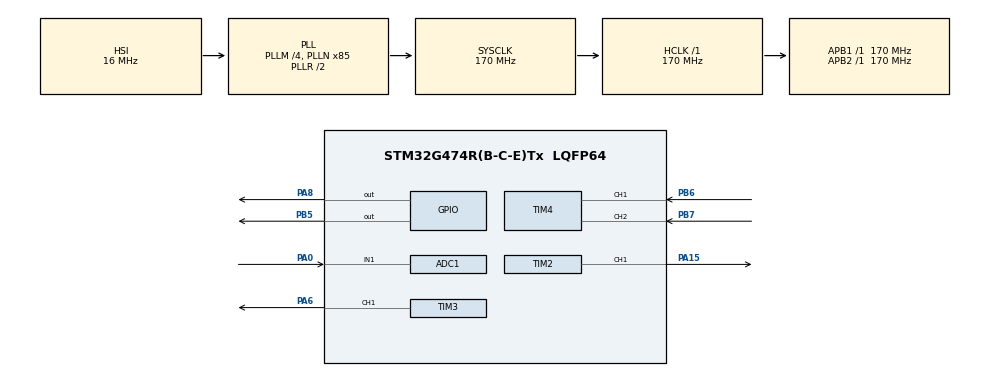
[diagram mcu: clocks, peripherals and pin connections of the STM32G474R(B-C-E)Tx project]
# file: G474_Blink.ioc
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ADC1.Channel-0\#ChannelRegularConversion=ADC_CHANNEL_1
ADC1.NbrOfConversionFlag=1
ADC1.OffsetNumber-0\#ChannelRegularConversion=ADC_OFFSET_NONE
ADC1.Rank-0\#ChannelRegularConversion=1
ADC1.SamplingTime-0\#ChannelRegularConversion=ADC_SAMPLETIME_2CYCLES_5
ADC1.master=1
Mcu.Family=STM32G4
Mcu.Name=STM32G474R(B-C-E)Tx
Mcu.Package=LQFP64
NUCLEO-G474RE.BUTTON=1
NUCLEO-G474RE.LD2=true
NUCLEO-G474RE.VCP=true
NVIC.EXTI15_10_IRQn=true\:0\:0\:false\:false\:true\:false\:true\:true
NVIC.PriorityGroup=NVIC_PRIORITYGROUP_4
NVIC.TIM6_DAC_IRQn=true\:0\:0\:false\:false\:true\:true\:true\:true
PA0.Mode=IN1-Single-Ended
PA0.Signal=ADC1_IN1
PA13.GPIO_Label=T_SWDIO
PA13.Signal=SYS_JTMS-SWDIO
PA14.GPIO_Label=T_SWCLK
PA14.Signal=SYS_JTCK-SWCLK
PA15.Signal=S_TIM2_CH1
PA2.Signal=LPUART1_TX
PA3.Signal=LPUART1_RX
PA6.Signal=S_TIM3_CH1
PA8.Signal=GPIO_Output
PB3.GPIO_Label=T_SWO
PB3.Signal=SYS_JTDO-SWO
PB5.Signal=GPIO_Output
PB6.Signal=S_TIM4_CH1
PB7.Signal=S_TIM4_CH2
PC14-OSC32_IN.GPIO_Label=RCC_OSC32_IN
PC14-OSC32_IN.Signal=RCC_OSC32_IN
PC15-OSC32_OUT.GPIO_Label=RCC_OSC32_OUT
PC15-OSC32_OUT.Signal=RCC_OSC32_OUT
PF0-OSC_IN.GPIO_Label=RCC_OSC_IN
PF0-OSC_IN.Signal=RCC_OSC_IN
PF1-OSC_OUT.GPIO_Label=RCC_OSC_OUT
PF1-OSC_OUT.Signal=RCC_OSC_OUT
ProjectManager.HeapSize=0x200
ProjectManager.StackSize=0x400
ProjectManager.TargetToolchain=STM32CubeIDE
RCC.ADC12Freq_Value=170000000
RCC.ADC345Freq_Value=170000000
RCC.AHBFreq_Value=170000000
RCC.APB1Freq_Value=170000000
RCC.APB1TimFreq_Value=170000000
RCC.APB2Freq_Value=170000000
RCC.APB2TimFreq_Value=170000000
RCC.CortexFreq_Value=170000000
RCC.EXTERNAL_CLOCK_VALUE=12288000
RCC.HCLKFreq_Value=170000000
RCC.HSE_VALUE=24000000
RCC.HSI48_VALUE=48000000
RCC.HSI_VALUE=16000000
RCC.LSE_VALUE=32768
RCC.PLLM=RCC_PLLM_DIV4
RCC.PLLN=85
RCC.RTCClockSelection=RCC_RTCCLKSOURCE_LSE
RCC.SYSCLKFreq_VALUE=170000000
RCC.SYSCLKSource=RCC_SYSCLKSOURCE_PLLCLK
RCC.USBFreq_Value=170000000
RCC.VCOOutputFreq_Value=340000000
SH.S_TIM2_CH1.0=TIM2_CH1,PWM Generation1 CH1
SH.S_TIM3_CH1.0=TIM3_CH1,PWM Generation1 CH1
SH.S_TIM4_CH1.0=TIM4_CH1,Encoder_Interface
SH.S_TIM4_CH2.0=TIM4_CH2,Encoder_Interface
TIM2.Channel-PWM\ Generation1\ CH1=TIM_CHANNEL_1
TIM2.PeriodNoDither=999
TIM2.Prescaler=169
TIM2.PulseNoDither_1=500
TIM3.Channel-PWM\ Generation1\ CH1=TIM_CHANNEL_1
TIM3.PeriodNoDither=8499
TIM4.EncoderMode=TIM_ENCODERMODE_TI12
TIM6.PeriodNoDither=9
TIM6.Prescaler=16999
VP_NUCLEO-G474RE_VS_BSP_COMMON.Mode=COMMON
VP_SYS_VS_DBSignals.Mode=DisableDeadBatterySignals
VP_TIM3_VS_ClockSourceINT.Mode=Internal
VP_TIM6_VS_ClockSourceINT.Mode=Enable_Timer
board=NUCLEO-G474RE

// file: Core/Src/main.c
/* USER CODE BEGIN Header */
/**
  ******************************************************************************
  * @file           : main.c
  * @brief          : Main program body
  ******************************************************************************
  * @attention
  *
  * Copyright (c) 2026 STMicroelectronics.
  * All rights reserved.
  *
  * This software is licensed under terms that can be found in the LICENSE file
  * in the root directory of this software component.
  * If no LICENSE file comes with this software, it is provided AS-IS.
  *
  ******************************************************************************
  */
/* USER CODE END Header */
#include "main.h"

/* USER CODE BEGIN Includes */
#include "motor_control.h"
#include <stdbool.h>
/* USER CODE END Includes */

COM_InitTypeDef BspCOMInit;
ADC_HandleTypeDef hadc1;

TIM_HandleTypeDef htim2;
TIM_HandleTypeDef htim3;
TIM_HandleTypeDef htim4;
TIM_HandleTypeDef htim6;

/* USER CODE BEGIN PV */

volatile float target_rpm = 0.0f;

volatile uint16_t encoder_count = 0;

uint32_t adc_value = 0;

int32_t filtered_adc = 0;

uint32_t pwm_value;

volatile float motor_rpm = 0.0f;

uint32_t encoder_last_time = 0;
uint16_t encoder_previous = 0;
volatile int32_t encoder_delta = 0;

volatile uint32_t system_ms = 0;
//uint32_t old_blink_period = 0;
float adc_voltage = 0.0f;
/* USER CODE END PV */

void SystemClock_Config(void);
static void MX_GPIO_Init(void);
static void MX_TIM6_Init(void);
static void MX_ADC1_Init(void);
static void MX_TIM2_Init(void);
static void MX_TIM3_Init(void);
static void MX_TIM4_Init(void);
/* USER CODE BEGIN PFP */
void ReadPotentiometer(void);
/* USER CODE END PFP */

int main(void)
{

  /* MCU Configuration--------------------------------------------------------*/

  /* Reset of all peripherals, Initializes the Flash interface and the Systick. */
  HAL_Init();

  /* Configure the system clock */
  SystemClock_Config();

  /* Initialize all configured peripherals */
  MX_GPIO_Init();
  MX_TIM6_Init();
  MX_ADC1_Init();
  MX_TIM2_Init();
  MX_TIM3_Init();
  MX_TIM4_Init();
  /* USER CODE BEGIN 2 */

  HAL_TIM_Encoder_Start(&htim4, TIM_CHANNEL_ALL);

  // Keep motor driver disabled
  HAL_GPIO_WritePin(GPIOB, GPIO_PIN_5, GPIO_PIN_SET);

  //Set motor direction
  HAL_GPIO_WritePin(GPIOA, GPIO_PIN_8, GPIO_PIN_RESET);

  // Start PWN at 0%
  __HAL_TIM_SET_COMPARE(&htim3, TIM_CHANNEL_1, 0);

  HAL_TIM_Base_Start_IT(&htim6);
  HAL_TIM_PWM_Start(&htim3, TIM_CHANNEL_1);
  MotorControl_Init();
//  __HAL_TIM_SET_COMPARE(&htim2, TIM_CHANNEL_1, 100);
  /* USER CODE END 2 */

  /* Initialize led */
  BSP_LED_Init(LED_GREEN);

  /* Initialize USER push-button, will be used to trigger an interrupt each time it's pressed.*/
  BSP_PB_Init(BUTTON_USER, BUTTON_MODE_EXTI);

  /* Initialize COM1 port (115200, 8 bits (7-bit data + 1 stop bit), no parity */
  BspCOMInit.BaudRate   = 115200;
  BspCOMInit.WordLength = COM_WORDLENGTH_8B;
  BspCOMInit.StopBits   = COM_STOPBITS_1;
  BspCOMInit.Parity     = COM_PARITY_NONE;
  BspCOMInit.HwFlowCtl  = COM_HWCONTROL_NONE;
  if (BSP_COM_Init(COM1, &BspCOMInit) != BSP_ERROR_NONE)
  {
    Error_Handler();
  }

  /* Infinite loop */
  while (1)
  {

    /* USER CODE BEGIN 3 */
	  ReadPotentiometer();
	  uint32_t now = HAL_GetTick();

	  if ((now - encoder_last_time) >= 100U)
	  {
	    uint32_t elapsed_ms = now - encoder_last_time;

	    encoder_count = __HAL_TIM_GET_COUNTER(&htim4);

	    encoder_delta =
	        (int16_t)((uint16_t)encoder_count - encoder_previous);

	    motor_rpm = ((float)encoder_delta * 60000.0f)
	                / (6533.333f * (float)elapsed_ms);

	    encoder_previous = (uint16_t)encoder_count;
	    encoder_last_time = now;
	  }
  }
  /* USER CODE END 3 */
}

void SystemClock_Config(void)
{
  RCC_OscInitTypeDef RCC_OscInitStruct = {0};
  RCC_ClkInitTypeDef RCC_ClkInitStruct = {0};

  /** Configure the main internal regulator output voltage
  */
  HAL_PWREx_ControlVoltageScaling(PWR_REGULATOR_VOLTAGE_SCALE1_BOOST);

  /** Initializes the RCC Oscillators according to the specified parameters
  * in the RCC_OscInitTypeDef structure.
  */
  RCC_OscInitStruct.OscillatorType = RCC_OSCILLATORTYPE_HSI;
  RCC_OscInitStruct.HSIState = RCC_HSI_ON;
  RCC_OscInitStruct.HSICalibrationValue = RCC_HSICALIBRATION_DEFAULT;
  RCC_OscInitStruct.PLL.PLLState = RCC_PLL_ON;
  RCC_OscInitStruct.PLL.PLLSource = RCC_PLLSOURCE_HSI;
  RCC_OscInitStruct.PLL.PLLM = RCC_PLLM_DIV4;
  RCC_OscInitStruct.PLL.PLLN = 85;
  RCC_OscInitStruct.PLL.PLLP = RCC_PLLP_DIV2;
  RCC_OscInitStruct.PLL.PLLQ = RCC_PLLQ_DIV2;
  RCC_OscInitStruct.PLL.PLLR = RCC_PLLR_DIV2;
  if (HAL_RCC_OscConfig(&RCC_OscInitStruct) != HAL_OK)
  {
    Error_Handler();
  }

  /** Initializes the CPU, AHB and APB buses clocks
  */
  RCC_ClkInitStruct.ClockType = RCC_CLOCKTYPE_HCLK|RCC_CLOCKTYPE_SYSCLK
                              |RCC_CLOCKTYPE_PCLK1|RCC_CLOCKTYPE_PCLK2;
  RCC_ClkInitStruct.SYSCLKSource = RCC_SYSCLKSOURCE_PLLCLK;
  RCC_ClkInitStruct.AHBCLKDivider = RCC_SYSCLK_DIV1;
  RCC_ClkInitStruct.APB1CLKDivider = RCC_HCLK_DIV1;
  RCC_ClkInitStruct.APB2CLKDivider = RCC_HCLK_DIV1;

  if (HAL_RCC_ClockConfig(&RCC_ClkInitStruct, FLASH_LATENCY_4) != HAL_OK)
  {
    Error_Handler();
  }
}

static void MX_ADC1_Init(void)
{

  ADC_MultiModeTypeDef multimode = {0};
  ADC_ChannelConfTypeDef sConfig = {0};

  /** Common config
  */
  hadc1.Instance = ADC1;
  hadc1.Init.ClockPrescaler = ADC_CLOCK_SYNC_PCLK_DIV4;
  hadc1.Init.Resolution = ADC_RESOLUTION_12B;
  hadc1.Init.DataAlign = ADC_DATAALIGN_RIGHT;
  hadc1.Init.GainCompensation = 0;
  hadc1.Init.ScanConvMode = ADC_SCAN_DISABLE;
  hadc1.Init.EOCSelection = ADC_EOC_SINGLE_CONV;
  hadc1.Init.LowPowerAutoWait = DISABLE;
  hadc1.Init.ContinuousConvMode = DISABLE;
  hadc1.Init.NbrOfConversion = 1;
  hadc1.Init.DiscontinuousConvMode = DISABLE;
  hadc1.Init.ExternalTrigConv = ADC_SOFTWARE_START;
  hadc1.Init.ExternalTrigConvEdge = ADC_EXTERNALTRIGCONVEDGE_NONE;
  hadc1.Init.DMAContinuousRequests = DISABLE;
  hadc1.Init.Overrun = ADC_OVR_DATA_PRESERVED;
  hadc1.Init.OversamplingMode = DISABLE;
  if (HAL_ADC_Init(&hadc1) != HAL_OK)
  {
    Error_Handler();
  }

  /** Configure the ADC multi-mode
  */
  multimode.Mode = ADC_MODE_INDEPENDENT;
  if (HAL_ADCEx_MultiModeConfigChannel(&hadc1, &multimode) != HAL_OK)
  {
    Error_Handler();
  }

  /** Configure Regular Channel
  */
  sConfig.Channel = ADC_CHANNEL_1;
  sConfig.Rank = ADC_REGULAR_RANK_1;
  sConfig.SamplingTime = ADC_SAMPLETIME_2CYCLES_5;
  sConfig.SingleDiff = ADC_SINGLE_ENDED;
  sConfig.OffsetNumber = ADC_OFFSET_NONE;
  sConfig.Offset = 0;
  if (HAL_ADC_ConfigChannel(&hadc1, &sConfig) != HAL_OK)
  {
    Error_Handler();
  }

}

static void MX_TIM2_Init(void)
{

  TIM_MasterConfigTypeDef sMasterConfig = {0};
  TIM_OC_InitTypeDef sConfigOC = {0};

  htim2.Instance = TIM2;
  htim2.Init.Prescaler = 169;
  htim2.Init.CounterMode = TIM_COUNTERMODE_UP;
  htim2.Init.Period = 999;
  htim2.Init.ClockDivision = TIM_CLOCKDIVISION_DIV1;
  htim2.Init.AutoReloadPreload = TIM_AUTORELOAD_PRELOAD_DISABLE;
  if (HAL_TIM_PWM_Init(&htim2) != HAL_OK)
  {
    Error_Handler();
  }
  sMasterConfig.MasterOutputTrigger = TIM_TRGO_RESET;
  sMasterConfig.MasterSlaveMode = TIM_MASTERSLAVEMODE_DISABLE;
  if (HAL_TIMEx_MasterConfigSynchronization(&htim2, &sMasterConfig) != HAL_OK)
  {
    Error_Handler();
  }
  sConfigOC.OCMode = TIM_OCMODE_PWM1;
  sConfigOC.Pulse = 500;
  sConfigOC.OCPolarity = TIM_OCPOLARITY_HIGH;
  sConfigOC.OCFastMode = TIM_OCFAST_DISABLE;
  if (HAL_TIM_PWM_ConfigChannel(&htim2, &sConfigOC, TIM_CHANNEL_1) != HAL_OK)
  {
    Error_Handler();
  }
  HAL_TIM_MspPostInit(&htim2);

}

static void MX_TIM3_Init(void)
{

  TIM_ClockConfigTypeDef sClockSourceConfig = {0};
  TIM_MasterConfigTypeDef sMasterConfig = {0};
  TIM_OC_InitTypeDef sConfigOC = {0};

  htim3.Instance = TIM3;
  htim3.Init.Prescaler = 0;
  htim3.Init.CounterMode = TIM_COUNTERMODE_UP;
  htim3.Init.Period = 8499;
  htim3.Init.ClockDivision = TIM_CLOCKDIVISION_DIV1;
  htim3.Init.AutoReloadPreload = TIM_AUTORELOAD_PRELOAD_DISABLE;
  if (HAL_TIM_Base_Init(&htim3) != HAL_OK)
  {
    Error_Handler();
  }
  sClockSourceConfig.ClockSource = TIM_CLOCKSOURCE_INTERNAL;
  if (HAL_TIM_ConfigClockSource(&htim3, &sClockSourceConfig) != HAL_OK)
  {
    Error_Handler();
  }
  if (HAL_TIM_PWM_Init(&htim3) != HAL_OK)
  {
    Error_Handler();
  }
  sMasterConfig.MasterOutputTrigger = TIM_TRGO_RESET;
  sMasterConfig.MasterSlaveMode = TIM_MASTERSLAVEMODE_DISABLE;
  if (HAL_TIMEx_MasterConfigSynchronization(&htim3, &sMasterConfig) != HAL_OK)
  {
    Error_Handler();
  }
  sConfigOC.OCMode = TIM_OCMODE_PWM1;
  sConfigOC.Pulse = 0;
  sConfigOC.OCPolarity = TIM_OCPOLARITY_HIGH;
  sConfigOC.OCFastMode = TIM_OCFAST_DISABLE;
  if (HAL_TIM_PWM_ConfigChannel(&htim3, &sConfigOC, TIM_CHANNEL_1) != HAL_OK)
  {
    Error_Handler();
  }
  HAL_TIM_MspPostInit(&htim3);

}

static void MX_TIM4_Init(void)
{

  TIM_Encoder_InitTypeDef sConfig = {0};
  TIM_MasterConfigTypeDef sMasterConfig = {0};

  htim4.Instance = TIM4;
  htim4.Init.Prescaler = 0;
  htim4.Init.CounterMode = TIM_COUNTERMODE_UP;
  htim4.Init.Period = 65535;
  htim4.Init.ClockDivision = TIM_CLOCKDIVISION_DIV1;
  htim4.Init.AutoReloadPreload = TIM_AUTORELOAD_PRELOAD_DISABLE;
  sConfig.EncoderMode = TIM_ENCODERMODE_TI12;
  sConfig.IC1Polarity = TIM_ICPOLARITY_RISING;
  sConfig.IC1Selection = TIM_ICSELECTION_DIRECTTI;
  sConfig.IC1Prescaler = TIM_ICPSC_DIV1;
  sConfig.IC1Filter = 0;
  sConfig.IC2Polarity = TIM_ICPOLARITY_RISING;
  sConfig.IC2Selection = TIM_ICSELECTION_DIRECTTI;
  sConfig.IC2Prescaler = TIM_ICPSC_DIV1;
  sConfig.IC2Filter = 0;
  if (HAL_TIM_Encoder_Init(&htim4, &sConfig) != HAL_OK)
  {
    Error_Handler();
  }
  sMasterConfig.MasterOutputTrigger = TIM_TRGO_RESET;
  sMasterConfig.MasterSlaveMode = TIM_MASTERSLAVEMODE_DISABLE;
  if (HAL_TIMEx_MasterConfigSynchronization(&htim4, &sMasterConfig) != HAL_OK)
  {
    Error_Handler();
  }

}

static void MX_TIM6_Init(void)
{

  TIM_MasterConfigTypeDef sMasterConfig = {0};

  htim6.Instance = TIM6;
  htim6.Init.Prescaler = 16999;
  htim6.Init.CounterMode = TIM_COUNTERMODE_UP;
  htim6.Init.Period = 9;
  htim6.Init.AutoReloadPreload = TIM_AUTORELOAD_PRELOAD_DISABLE;
  if (HAL_TIM_Base_Init(&htim6) != HAL_OK)
  {
    Error_Handler();
  }
  sMasterConfig.MasterOutputTrigger = TIM_TRGO_RESET;
  sMasterConfig.MasterSlaveMode = TIM_MASTERSLAVEMODE_DISABLE;
  if (HAL_TIMEx_MasterConfigSynchronization(&htim6, &sMasterConfig) != HAL_OK)
  {
    Error_Handler();
  }

}

static void MX_GPIO_Init(void)
{
  GPIO_InitTypeDef GPIO_InitStruct = {0};

  /* GPIO Ports Clock Enable */
  __HAL_RCC_GPIOC_CLK_ENABLE();
  __HAL_RCC_GPIOF_CLK_ENABLE();
  __HAL_RCC_GPIOA_CLK_ENABLE();
  __HAL_RCC_GPIOB_CLK_ENABLE();

  /*Configure GPIO pin Output Level */
  HAL_GPIO_WritePin(GPIOA, GPIO_PIN_8, GPIO_PIN_RESET);

  /*Configure GPIO pin Output Level */
  HAL_GPIO_WritePin(GPIOB, GPIO_PIN_5, GPIO_PIN_RESET);

  /*Configure GPIO pin : PA8 */
  GPIO_InitStruct.Pin = GPIO_PIN_8;
  GPIO_InitStruct.Mode = GPIO_MODE_OUTPUT_PP;
  GPIO_InitStruct.Pull = GPIO_NOPULL;
  GPIO_InitStruct.Speed = GPIO_SPEED_FREQ_LOW;
  HAL_GPIO_Init(GPIOA, &GPIO_InitStruct);

  /*Configure GPIO pin : PB5 */
  GPIO_InitStruct.Pin = GPIO_PIN_5;
  GPIO_InitStruct.Mode = GPIO_MODE_OUTPUT_PP;
  GPIO_InitStruct.Pull = GPIO_NOPULL;
  GPIO_InitStruct.Speed = GPIO_SPEED_FREQ_LOW;
  HAL_GPIO_Init(GPIOB, &GPIO_InitStruct);

}

/* USER CODE BEGIN 4 */

void ReadPotentiometer(void)
{
	HAL_ADC_Start(&hadc1);

	if (HAL_ADC_PollForConversion(&hadc1, 10) == HAL_OK)
	{
		adc_value = HAL_ADC_GetValue(&hadc1);
		filtered_adc = filtered_adc + (((int32_t)adc_value - filtered_adc)/ 16);
		if (filtered_adc < 50)
		{
		    target_rpm = 0.0f;
		}
		else
		{
		    target_rpm = ((float)filtered_adc * 30.0f) / 4095.0f;
		}
		pwm_value = MotorControl_Update(target_rpm,
		                                motor_rpm,
		                                HAL_GetTick());

		__HAL_TIM_SET_COMPARE(&htim3, TIM_CHANNEL_1, pwm_value);

	}
	HAL_ADC_Stop(&hadc1);
}

void HAL_TIM_PeriodElapsedCallback(TIM_HandleTypeDef *htim)
{
	if (htim->Instance == TIM6)
	{
		system_ms++;
	}
}

/*void BSP_PB_Callback(Button_TypeDef Button)
{
	static uint32_t last_press = 0;
	uint32_t now = HAL_GetTick();
	if (Button == BUTTON_USER)
	{
		if ((now - last_press) > 50)
		{
			if (blink_period == 1000)
			{
				blink_period = 500;
			} else if (blink_period == 500)
			{
				blink_period = 250;
			} else
			{
				blink_period = 1000;
			}

		//__HAL_TIM_SET_AUTORELOAD(&htim6, (blink_period * 10) - 1);
		//__HAL_TIM_SET_COUNTER(&htim6, 0);
			//blink_enabled = !blink_enabled;
			last_press = now;
		}
	}
}*/
/* USER CODE END 4 */

void Error_Handler(void)
{
  __disable_irq();
  while (1)
  {
  }
}
